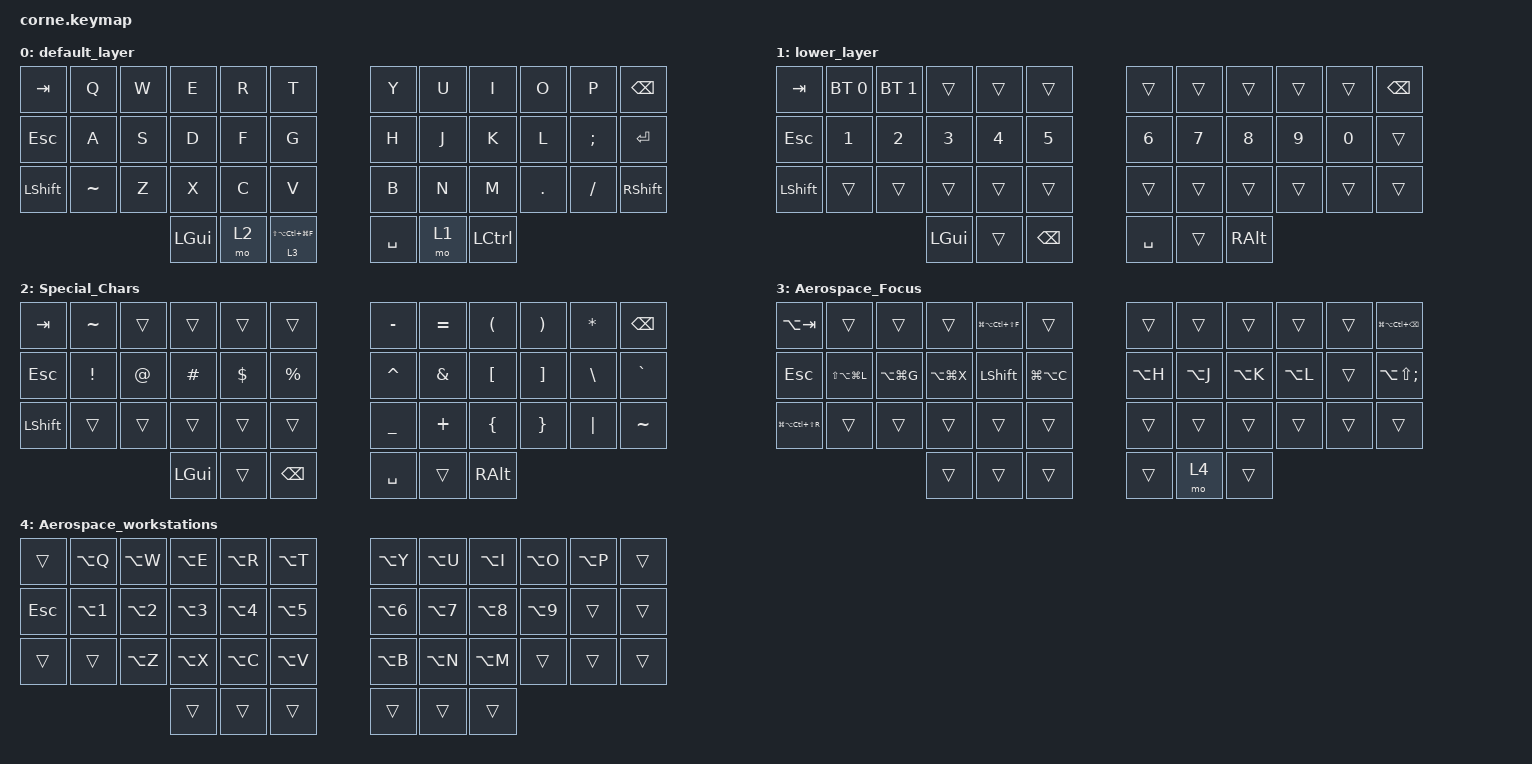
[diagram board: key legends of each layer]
/*
 * Copyright (c) 2020 The ZMK Contributors
 *
 * SPDX-License-Identifier: MIT
 */

#include <behaviors.dtsi>
#include <dt-bindings/zmk/bt.h>
#include <dt-bindings/zmk/keys.h>

/ {
    combos {
        compatible = "zmk,combos";

        vim-colon {
            bindings = <&kp COLON>;
            key-positions = <13 22>;
        };

        open-square {
            bindings = <&kp LEFT_BRACKET>;
            key-positions = <14 2>;
        };

        open-parenthesis {
            bindings = <&kp LEFT_PARENTHESIS>;
            key-positions = <3 15>;
        };

        open-curly {
            bindings = <&kp LEFT_BRACE>;
            key-positions = <4 16>;
        };

        close-square {
            bindings = <&kp RIGHT_BRACKET>;
            key-positions = <9 21>;
        };

        close-parenthesis {
            bindings = <&kp RIGHT_PARENTHESIS>;
            key-positions = <20 8>;
        };

        close-curly {
            bindings = <&kp RIGHT_BRACE>;
            key-positions = <7 19>;
        };

        star {
            bindings = <&kp ASTERISK>;
            key-positions = <3 8>;
        };

        plus {
            bindings = <&kp PLUS>;
            key-positions = <4 7>;
        };

        dolla {
            bindings = <&kp DOLLAR>;
            key-positions = <15 20>;
        };

        gets {
            bindings = <&kp EQUAL>;
            key-positions = <16 19>;
        };

        ampersand {
            bindings = <&kp AMPERSAND>;
            key-positions = <17 18>;
        };

        minus {
            bindings = <&kp MINUS>;
            key-positions = <28 31>;
        };

        underscore {
            bindings = <&kp UNDERSCORE>;
            key-positions = <27 32>;
        };

        exclamation {
            bindings = <&kp EXCLAMATION>;
            key-positions = <27 32>;
        };
    };

    macros {
        test: test {
            compatible = "zmk,behavior-macro";
            #binding-cells = <0>;
            bindings = <&none>;
            label = "TEST";
        };
    };

    keymap {
        compatible = "zmk,keymap";

        default_layer {
            // -----------------------------------------------------------------------------------------
            // |  TAB |  Q  |  W  |  E  |  R  |  T  |   |  Y  |  U   |  I  |  O  |  P  | BSPC |
            // | CTRL |  A  |  S  |  D  |  F  |  G  |   |  H  |  J   |  K  |  L  |  ;  |  '   |
            // | SHFT |  Z  |  X  |  C  |  V  |  B  |   |  N  |  M   |  ,  |  .  |  /  | ESC  |
            //                    | GUI | LWR | SPC |   | ENT | RSE  | ALT |

            bindings = <
&kp TAB    &kp Q      &kp W  &kp E     &kp R  &kp T                      &kp Y      &kp U  &kp I             &kp O    &kp P     &kp BSPC
&kp ESC    &kp A      &kp S  &kp D     &kp F  &kp G                      &kp H      &kp J  &kp K             &kp L    &kp SEMI  &kp ENTER
&kp LSHFT  &kp TILDE  &kp Z  &kp X     &kp C  &kp V                      &kp B      &kp N  &kp M             &kp DOT  &kp FSLH  &kp RIGHT_SHIFT
                             &kp LGUI  &mo 2  &lt 3 LS(LA(LC(LG(F))))    &kp SPACE  &mo 1  &kp LEFT_CONTROL
            >;
        };

        lower_layer {
            // -----------------------------------------------------------------------------------------
            // |  TAB |  1  |  2  |  3  |  4  |  5  |   |  6  |  7  |  8  |  9  |  0  | BSPC |
            // | BTCLR| BT1 | BT2 | BT3 | BT4 | BT5 |   | LFT | DWN |  UP | RGT |     |      |
            // | SHFT |     |     |     |     |     |   |     |     |     |     |     |      |
            //                    | GUI |     | SPC |   | ENT |     | ALT |

            bindings = <
&kp TAB    &bt BT_SEL 0  &bt BT_SEL 1  &trans        &trans        &trans           &trans        &trans  &trans    &trans  &trans  &kp BSPC
&kp ESC    &kp NUMBER_1  &kp NUMBER_2  &kp NUMBER_3  &kp NUMBER_4  &kp N5           &kp NUMBER_6  &kp N7  &kp N8    &kp N9  &kp N0  &trans
&kp LSHFT  &trans        &trans        &trans        &trans        &trans           &trans        &trans  &trans    &trans  &trans  &trans
                                       &kp LGUI      &trans        &kp BACKSPACE    &kp SPACE     &trans  &kp RALT
            >;
        };

        Special_Chars {
            // -----------------------------------------------------------------------------------------
            // |  TAB |  !  |  @  |  #  |  $  |  %  |   |  ^  |  &  |  *  |  (  |  )  | BSPC |
            // | CTRL |     |     |     |     |     |   |  -  |  =  |  [  |  ]  |  \  |  `   |
            // | SHFT |     |     |     |     |     |   |  _  |  +  |  {  |  }  | "|" |  ~   |
            //                    | GUI |     | SPC |   | ENT |     | ALT |

            bindings = <
&kp TAB    &kp TILDE        &trans  &trans    &trans      &trans           &kp MINUS  &kp EQUAL      &kp LEFT_PARENTHESIS  &kp RPAR  &kp ASTERISK  &kp BSPC
&kp ESC    &kp EXCLAMATION  &kp AT  &kp HASH  &kp DOLLAR  &kp PERCENT      &kp CARET  &kp AMPERSAND  &kp LBKT              &kp RBKT  &kp BSLH      &kp GRAVE
&kp LSHFT  &trans           &trans  &trans    &trans      &trans           &kp UNDER  &kp PLUS       &kp LBRC              &kp RBRC  &kp PIPE      &kp TILDE
                                    &kp LGUI  &trans      &kp BACKSPACE    &kp SPACE  &trans         &kp RALT
            >;
        };

        Aerospace_Focus {
            bindings = <
&kp LA(TAB)            &trans             &trans         &trans         &kp LG(LA(LC(LS(F))))  &trans           &trans     &trans     &trans     &trans     &trans  &kp LG(LA(LC(BACKSPACE)))
&kp ESC                &kp LS(LA(LG(L)))  &kp LA(LG(G))  &kp LA(LG(X))  &kp LSHIFT             &kp LG(LA(C))    &kp LA(H)  &kp LA(J)  &kp LA(K)  &kp LA(L)  &trans  &kp LA(LS(SEMICOLON))
&kp LG(LA(LC(LS(R))))  &trans             &trans         &trans         &trans                 &trans           &trans     &trans     &trans     &trans     &trans  &trans
                                                         &trans         &trans                 &trans           &trans     &mo 4      &trans
            >;
        };

        Aerospace_workstations {
            bindings = <
&trans   &kp LA(Q)   &kp LA(W)   &kp LA(E)   &kp LA(R)   &kp LA(T)     &kp LA(Y)   &kp LA(U)   &kp LA(I)   &kp LA(O)   &kp LA(P)  &trans
&kp ESC  &kp LA(N1)  &kp LA(N2)  &kp LA(N3)  &kp LA(N4)  &kp LA(N5)    &kp LA(N6)  &kp LA(N7)  &kp LA(N8)  &kp LA(N9)  &trans     &trans
&trans   &trans      &kp LA(Z)   &kp LA(X)   &kp LA(C)   &kp LA(V)     &kp LA(B)   &kp LA(N)   &kp LA(M)   &trans      &trans     &trans
                                 &trans      &trans      &trans        &trans      &trans      &trans
            >;
        };
    };
};
